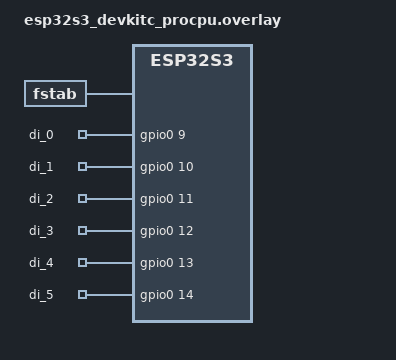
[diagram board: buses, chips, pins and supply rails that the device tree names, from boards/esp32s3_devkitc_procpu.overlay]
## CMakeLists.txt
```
cmake_minimum_required(VERSION 3.20)

# Apply patches before build
function(apply_patches patch_dir target_dir)
    file(GLOB_RECURSE files RELATIVE ${CMAKE_SOURCE_DIR} "${patch_dir}/*.patch")
    foreach(file ${files})
        execute_process(
            COMMAND git apply --reverse --check ${CMAKE_CURRENT_SOURCE_DIR}/${file} --unsafe-paths
            WORKING_DIRECTORY ${target_dir}
            RESULT_VARIABLE patch_already_applied
            OUTPUT_QUIET
            ERROR_QUIET
        )
        if(patch_already_applied EQUAL 0)
            message("Patch already applied: ${file}")
        else()
            message("Applying patch: ${file}")
            execute_process(
                COMMAND git apply ${CMAKE_CURRENT_SOURCE_DIR}/${file} --unsafe-paths
                WORKING_DIRECTORY ${target_dir}
                RESULT_VARIABLE patch_apply_result
            )
            if(NOT patch_apply_result EQUAL 0)
                message(FATAL_ERROR "Failed to apply patch: ${file}")
            endif()
        endif()
    endforeach()
endfunction()

# apply_patches("patches/zephyr" $ENV{ZEPHYR_BASE})
apply_patches("patches/modules/lvgl" $ENV{ZEPHYR_BASE}/../modules/lib/gui/lvgl)

# ZCBOR code generation function
function(generate_zcbor_configuration cddl_path base_name)
    # Convert base_name to PascalCase for the type name
    string(REPLACE "_" ";" name_parts ${base_name})
    set(type_name "")
    foreach(part ${name_parts})
        string(SUBSTRING ${part} 0 1 first_char)
        string(TOUPPER ${first_char} first_char_upper)
        string(SUBSTRING ${part} 1 -1 rest_chars)
        string(APPEND type_name "${first_char_upper}${rest_chars}")
    endforeach()

    # Define output paths
    set(output_dir "${CMAKE_CURRENT_SOURCE_DIR}/src/configuration/cbor/generated/${base_name}")
    set(output_cbor_h "${output_dir}/${base_name}_cbor.h")
    set(output_cbor_c "${output_dir}/${base_name}_cbor.c")
    set(output_cbor_decode_h "${output_dir}/${base_name}_cbor_decode.h")
    set(output_cbor_decode_c "${output_dir}/${base_name}_cbor_decode.c")
    set(output_cbor_encode_h "${output_dir}/${base_name}_cbor_encode.h")
    set(output_cbor_encode_c "${output_dir}/${base_name}_cbor_encode.c")
    set(output_types_h "${output_dir}/${base_name}.h")

    # Define the zcbor code generation command
    add_custom_command(
        OUTPUT
            ${output_cbor_decode_h}
            ${output_cbor_decode_c}
            ${output_cbor_encode_h}
            ${output_cbor_encode_c}
            ${output_types_h}
        COMMAND zcbor code -sed --default-max-qty 24
            -c ${cddl_path}
            -t ${type_name}
            --output-h ${output_cbor_h}
            --output-c ${output_cbor_c}
            --output-h-types ${output_types_h}
        DEPENDS
            ${cddl_path}
        COMMENT "Generating CBOR code from ${cddl_path} for ${base_name}"
        VERBATIM
    )

    # Create a custom target to trigger the code generation automatically
    add_custom_target(generate_${base_name}_cbor ALL
        DEPENDS
            ${output_cbor_decode_h}
            ${output_cbor_decode_c}
            ${output_cbor_encode_h}
            ${output_cbor_encode_c}
            ${output_types_h}
    )
endfunction()

# generate_zcbor_configuration(
#     ${ZEPHYR_BASE}/../project/modules/eerie_leap_rt_core/src/configuration/cbor/cbor_schemas/system_config.cddl
#     "cbor_system_config")
# generate_zcbor_configuration(
#     ${CMAKE_CURRENT_SOURCE_DIR}/src/configuration/cbor/cbor_schemas/ui_config.cddl
#     "cbor_ui_config")

# Add Zephyr modules
set(EXTRA_ZEPHYR_MODULES
    "${CMAKE_CURRENT_SOURCE_DIR}/../modules/eerie_leap_lua"
    "${CMAKE_CURRENT_SOURCE_DIR}/../modules/eerie_leap_rt_core")

find_package(Zephyr REQUIRED HINTS $ENV{ZEPHYR_BASE})
project(eerie_leap_round_gauge)

# Enable compile_commands.json
set(CMAKE_EXPORT_COMPILE_COMMANDS ON)

# Set C++23 globally (Zephyr-compatible way)
set(CMAKE_CXX_STANDARD 23)
set(CMAKE_CXX_STANDARD_REQUIRED ON)
set(CMAKE_CXX_EXTENSIONS OFF)

# Collect all source files
file(GLOB_RECURSE APP_SOURCES
  src/*.cpp
  src/*.c
)

# Include headers
target_include_directories(app PRIVATE src)

# Add sources to the app target
target_sources(app PRIVATE ${APP_SOURCES})
```

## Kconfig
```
menu "Zephyr"
source "Kconfig.zephyr"

	config EERIE_LEAP_UI_RENDERER_THREAD_STACK_SIZE
		int "UI renderer thread stack size"
		default 8192

	config EERIE_LEAP_FLOAT_SIGNIFICANT_DIGITS
		int "Floating point significant digits"
		default 4

endmenu

module = APP
module-str = APP
```

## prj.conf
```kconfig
# Product Info
CONFIG_EERIE_LEAP_PRODUCT_FAMILY_DISPLAY_MODULE=y
# 0xA401
CONFIG_EERIE_LEAP_PRODUCT_ID=41985
CONFIG_EERIE_LEAP_FEATURES_CANBUS=y
CONFIG_EERIE_LEAP_FEATURES_BLUETOOTH=y
CONFIG_EERIE_LEAP_FEATURES_DISPLAY=y
CONFIG_EERIE_LEAP_REVISION=0

# HW Version
CONFIG_EERIE_LEAP_HW_VERSION_MAJOR=11
CONFIG_EERIE_LEAP_HW_VERSION_MINOR=22
CONFIG_EERIE_LEAP_HW_VERSION_PATCH=33

# SW Version
CONFIG_EERIE_LEAP_SW_VERSION_MAJOR=0
CONFIG_EERIE_LEAP_SW_VERSION_MINOR=0
CONFIG_EERIE_LEAP_SW_VERSION_PATCH=1

# Language and Compiler
CONFIG_CPP=y
CONFIG_STD_CPP23=y
CONFIG_REQUIRES_FULL_LIBCPP=y
CONFIG_CPP_EXCEPTIONS=y
CONFIG_CPP_RTTI=y
CONFIG_PICOLIBC=y
CONFIG_CBPRINTF_FP_SUPPORT=y

# Logging And Debugging
CONFIG_LOG=y
CONFIG_LOG_MODE_IMMEDIATE=y
# CONFIG_LOG_MODE_DEFERRED=y
CONFIG_EARLY_CONSOLE=y
CONFIG_THREAD_ANALYZER=y
CONFIG_THREAD_ANALYZER_USE_LOG=y
CONFIG_THREAD_RUNTIME_STATS=y
CONFIG_THREAD_NAME=y
CONFIG_SYS_HEAP_RUNTIME_STATS=y
CONFIG_THREAD_ANALYZER_ISR_STACK_USAGE=n
CONFIG_EXCEPTION_DEBUG=y
# CONFIG_EXTRA_EXCEPTION_INFO=y
# CONFIG_EXCEPTION_STACK_TRACE=y
# CONFIG_STACK_SENTINEL=y

# System
CONFIG_TIMING_FUNCTIONS=y
CONFIG_NUM_METAIRQ_PRIORITIES=1

# Random Number Generator
CONFIG_ENTROPY_GENERATOR=y
CONFIG_HARDWARE_DEVICE_CS_GENERATOR=y
CONFIG_ENTROPY_DEVICE_RANDOM_GENERATOR=y
# CONFIG_TEST_RANDOM_GENERATOR=y
# CONFIG_TIMER_RANDOM_GENERATOR=y
CONFIG_CRC=y

# Heap Config
CONFIG_SYS_HEAP_ARRAY_SIZE=100
# 80KB
CONFIG_HEAP_MEM_POOL_SIZE=81920
# C++ allocation support
CONFIG_COMMON_LIBC_MALLOC=y
# if not set LIBC malloc will use all available RAM
# 32KB
# CONFIG_COMMON_LIBC_MALLOC_ARENA_SIZE=32768

# Stack Config
CONFIG_MAIN_STACK_SIZE=8192
CONFIG_SYSTEM_WORKQUEUE_STACK_SIZE=2048
CONFIG_THREAD_STACK_INFO=y
CONFIG_DYNAMIC_THREAD=y
CONFIG_DYNAMIC_THREAD_ALLOC=y

# Hardware
CONFIG_GPIO=y

# FS Config
# CONFIG_FS_LITTLEFS_FC_HEAP_SIZE=8192
CONFIG_FLASH=y
CONFIG_FLASH_MAP=y
CONFIG_FILE_SYSTEM=y
CONFIG_FILE_SYSTEM_LITTLEFS=y
CONFIG_FILE_SYSTEM_MKFS=y
CONFIG_DISK_ACCESS=y
CONFIG_FS_LITTLEFS_BLK_DEV=y
CONFIG_FS_LITTLEFS_CACHE_SIZE=512

# CBOR
CONFIG_ZCBOR=y

# CANBus
CONFIG_CAN=y
CONFIG_CAN_FD_MODE=y
# CONFIG_CAN_LOG_LEVEL_DBG=y

# LVGL
CONFIG_LVGL=y
# CONFIG_LV_USE_LOG=y
# CONFIG_LV_LOG_LEVEL_ERROR=y
CONFIG_LV_USE_SYSMON=y
CONFIG_LV_USE_ASSERT_MALLOC=y
CONFIG_LV_USE_ASSERT_NULL=y
CONFIG_LV_USE_ASSERT_STYLE=y
CONFIG_LV_USE_LABEL=y
CONFIG_LV_USE_IMAGE=y
# CONFIG_LV_Z_RUN_LVGL_ON_WORKQUEUE=y
CONFIG_LV_DEF_REFR_PERIOD=20
CONFIG_LV_Z_FLUSH_THREAD=y
CONFIG_LV_Z_FLUSH_THREAD_PRIORITY=7
CONFIG_LV_Z_FLUSH_THREAD_STACK_SIZE=2048

# Color Scheme
# =====================================

# CONFIG_LV_COLOR_DEPTH_16=y
# CONFIG_LV_Z_BITS_PER_PIXEL=16

CONFIG_LV_COLOR_DEPTH_8=y
CONFIG_LV_Z_BITS_PER_PIXEL=8

# =====================================

# CONFIG_LV_USE_LOTTIE=y
# CONFIG_LV_USE_THORVG=y
# CONFIG_LV_USE_THORVG_INTERNAL=y
# CONFIG_LV_USE_VECTOR_GRAPHIC=y
# CONFIG_LV_USE_SVG=y
# CONFIG_LV_DRAW_TRANSFORM_USE_MATRIX=y

# Buffer size in %
CONFIG_LV_Z_VDB_SIZE=100
# Double buffer
CONFIG_LV_Z_DOUBLE_VDB=y
# Enabling parallel rendering
# CONFIG_LV_Z_USE_OSAL=y

# CONFIG_LV_USE_MEM_MONITOR=y
# CONFIG_LV_MEM_MONITOR_ALIGN_CENTER=y
# CONFIG_LV_USE_PERF_MONITOR=y
# CONFIG_LV_PERF_MONITOR_ALIGN_CENTER=y
# CONFIG_LV_PERF_MONITOR_ALIGN_BOTTOM_MID=y

# Font
CONFIG_LV_USE_FONT_COMPRESSED=y
CONFIG_LV_FONT_MONTSERRAT_20=y
CONFIG_LV_FONT_DEFAULT_UNSCII_16=y

CONFIG_EERIE_LEAP_RT_CORE=y
CONFIG_EERIE_LEAP_CONFIGURATION=y
CONFIG_EERIE_LEAP_ADC=y
CONFIG_EERIE_LEAP_ASSETS=y
CONFIG_EERIE_LEAP_BLUETOOTH=y
CONFIG_EERIE_LEAP_CANBUS=y
CONFIG_EERIE_LEAP_CDMP=y
# CONFIG_EERIE_LEAP_CFB=y
CONFIG_EERIE_LEAP_DEVICE_TREE=y
CONFIG_EERIE_LEAP_EVENT_BUS=y
CONFIG_EERIE_LEAP_FS=y
CONFIG_EERIE_LEAP_GPIO=y
CONFIG_EERIE_LEAP_LUA_SCRIPT=y
CONFIG_EERIE_LEAP_MATH_PARSER=y
CONFIG_EERIE_LEAP_MDF=y
CONFIG_EERIE_LEAP_RANDOM=y
CONFIG_EERIE_LEAP_THREADING=y
CONFIG_EERIE_LEAP_TIME=y

CONFIG_EERIE_LEAP_DOMAIN_BLE=y
CONFIG_EERIE_LEAP_DOMAIN_CANBUS=y
CONFIG_EERIE_LEAP_DOMAIN_CANBUS_COM=y
CONFIG_EERIE_LEAP_DOMAIN_CANBUS_COM_DEVICE_TYPE_DISPLAY=y
CONFIG_EERIE_LEAP_DOMAIN_SCRIPT=y
CONFIG_EERIE_LEAP_DOMAIN_SENSOR=y
CONFIG_EERIE_LEAP_DOMAIN_SYSTEM=y

CONFIG_EERIE_LEAP_CDMP_SERVICE_THREAD_PRIORITY=6
CONFIG_EERIE_LEAP_CDMP_WORK_QUEUE_PRIORITY=6

CONFIG_EERIE_LEAP_DOMAIN_SENSOR_PROCESSING_SERVICE_STACK_SIZE=4096
CONFIG_EERIE_LEAP_DOMAIN_SENSOR_PROCESSING_SERVICE_PRIORITY=6
```

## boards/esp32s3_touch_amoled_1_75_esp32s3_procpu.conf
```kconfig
# CONFIG_BOOTLOADER_MCUBOOT=y

# Debug
# ==============================================

CONFIG_DEBUG=y
CONFIG_NO_OPTIMIZATIONS=y
CONFIG_DEBUG_OPTIMIZATIONS=y
CONFIG_DEBUG_THREAD_INFO=y
# CONFIG_XTENSA_EXCEPTION_ENTER_GDB=y

# Coredump-on-fault, stored to the dedicated "coredump_partition" flash
# partition (see the board .overlay) so it survives reboot(s) -
# eerie_leap::utilities::dev_tools::CoredumpReporter (app/src/utilities/
# dev_tools) reprints it on every subsequent boot until erased, since the
# device may reset multiple times before a UART gets attached.
# CONFIG_DEBUG_COREDUMP=y
# CONFIG_DEBUG_COREDUMP_BACKEND_FLASH_PARTITION=y

# System
# ==============================================

# Fix (2026-08-21): a higher-level interrupt preempting the vector prologue
# was corrupting _kernel.cpus[0].nested (underflow to 0xFFFFFFFF -> _current
# desyncs -> mutex never unlocks -> bogus "mutex from ISR" panic in
# z_pend_curr). This masks interrupts during the whole handler, preventing
# that preemption.
CONFIG_XTENSA_INTERRUPT_NONPREEMPTABLE=y

# Memory
# ==============================================

# PSRAM config for ESP32-S3-N16R8 board with 8MB Octal SPI SPRAM
CONFIG_ESP_SPIRAM=y
CONFIG_SPIRAM_MODE_OCT=y
# SPIRAM (PSRAM) and SPI Flash are on the same bus,
# when SPIRAM is operating in Octal mode at 80MHz, due to the bug:
# https://github.com/zephyrproject-rtos/zephyr/issues/87938
# SPI Flash fails to initialize
CONFIG_SPIRAM_SPEED_40M=y
# 8MB
CONFIG_ESP_SPIRAM_SIZE=8388608
# 4MB
CONFIG_ESP_SPIRAM_HEAP_SIZE=4194304

# Not working on stable version v4.1 due to the bug:
# https://github.com/zephyrproject-rtos/zephyr/pull/88073
# But works on main branch with patch.
# CONFIG_SPIRAM_RODATA=y
CONFIG_SPIRAM_FETCH_INSTRUCTIONS=y

# LVGL
# ==============================================

# NOTE: Fixes incorrect invalidation of redrawn area
# https://forum.lvgl.io/t/lvgl-9-2-esp32-s3-display-axs15321b/19735/5
CONFIG_LV_Z_AREA_X_ALIGNMENT_WIDTH=2
CONFIG_LV_Z_AREA_Y_ALIGNMENT_WIDTH=2

CONFIG_LV_DEF_REFR_PERIOD=60

CONFIG_LV_Z_VDB_CUSTOM_SECTION=y
# CONFIG_LV_DRAW_THREAD_STACK_SIZE=32768
# CONFIG_LV_DRAW_LAYER_SIMPLE_BUF_SIZE=32768

CONFIG_LV_Z_MEMORY_POOL_CUSTOM_SECTION=y
# CONFIG_LV_Z_MEM_POOL_SYS_HEAP=y
# LVGL Transform requires a lot of memory
CONFIG_LV_Z_MEM_POOL_SIZE=65536

CONFIG_DISPLAY=y
CONFIG_DISPLAY_LOG_LEVEL_DBG=y

CONFIG_MSPI=y
CONFIG_MSPI_ESP32=y
# CONFIG_MSPI_LOG_LEVEL_DBG=y

# TODO: NXP Added their own driver for the CO5300 display
# Review if it makes sense to move to NXP driver
CONFIG_ELCO5300=y

CONFIG_INPUT_CST92XX=y
# CONFIG_INPUT_CST92XX_EV_DEVICE=y
CONFIG_INPUT_CST92XX_INTERRUPT=y
CONFIG_INPUT_QUEUE_MAX_MSGS=40
# CONFIG_INPUT_LOG_LEVEL_DBG=y

# CANBus
# CONFIG_CAN_MAX_FILTER=8
CONFIG_CAN_MCP251XFD_INT_THREAD_STACK_SIZE=4096

# Bluetooth
# ==============================================

CONFIG_BT=y
# CONFIG_BT_HCI=y
CONFIG_BT_DIS=y
CONFIG_BT_ATT_PREPARE_COUNT=1
CONFIG_BT_GATT_CLIENT=y
CONFIG_BT_PERIPHERAL=y
CONFIG_BT_DEVICE_NAME="EerieLeap"
CONFIG_BT_DEVICE_APPEARANCE=833

CONFIG_BT_SMP=y
CONFIG_BT_PRIVACY=y
CONFIG_BT_KEYS_OVERWRITE_OLDEST=y
CONFIG_BT_TX_PROCESSOR_STACK_SIZE=2048
# "BT RX WQ" thread
CONFIG_BT_RX_STACK_SIZE=8192
# "BT LW WQ" thread
CONFIG_BT_LONG_WQ_STACK_SIZE=2048

# # SMP configuration for Just Works
CONFIG_BT_SMP_SC_ONLY=n
# CONFIG_BT_SMP_SC_PAIR_ONLY=n
# CONFIG_BT_SMP_ENFORCE_MITM=n
# CONFIG_BT_SMP_LOG_LEVEL_DBG=y
# CONFIG_BT_SMP_APP_PAIRING_ACCEPT=y
CONFIG_BT_SMP_ALLOW_UNAUTH_OVERWRITE=y

# BT Settings
CONFIG_BT_SETTINGS=y
CONFIG_FLASH=y
CONFIG_FLASH_MAP=y
CONFIG_NVS=y
CONFIG_SETTINGS=y

# CONFIG_BT_LOG_LEVEL_DBG=y

CONFIG_BT_GATT_SERVICE_CHANGED=y

CONFIG_BT_MAX_CONN=1
CONFIG_BT_MAX_PAIRED=1

CONFIG_BT_BUF_ACL_TX_COUNT=12
CONFIG_BT_CONN_TX_MAX=12
CONFIG_BT_BUF_EVT_RX_COUNT=16
CONFIG_BT_L2CAP_TX_BUF_COUNT=12
# CONFIG_ESP32_BT_RESERVE_DRAM=y
# CONFIG_ESP32_BT_LE_HCI_INTERFACE_USE_RAM=y

# Too low value can lead to BT ATT PDU buffer pool exhaustion
# Uses RAM, works fine with val=20, set to 30 to be on safer side
# Size of a single buffer ~350 bytes
CONFIG_BT_ATT_TX_COUNT=30

# Data Length Update
CONFIG_BT_USER_DATA_LEN_UPDATE=y
CONFIG_BT_BUF_ACL_RX_SIZE=251
CONFIG_BT_BUF_ACL_TX_SIZE=251
CONFIG_BT_L2CAP_TX_MTU=247

# CONFIG_BT_ATT_LOG_LEVEL_DBG=y
# CONFIG_BT_GATT_LOG_LEVEL_DBG=y
```

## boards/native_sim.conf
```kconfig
CONFIG_FLASH_SIMULATOR=y
CONFIG_GPIO_EMUL=y

CONFIG_DISPLAY=y
CONFIG_INPUT=y

# Memory
# 8MB SRAM
CONFIG_SRAM_SIZE=8388608
# 2MB Heap
CONFIG_HEAP_MEM_POOL_SIZE=2097152
CONFIG_LV_Z_MEM_POOL_SIZE=1048576

# Bluetooth
# ==============================================

CONFIG_BT=y
CONFIG_BT_GATT_CLIENT=y
CONFIG_BT_PERIPHERAL=y
CONFIG_BT_DEVICE_NAME="EerieLeap"
CONFIG_BT_SMP=y
CONFIG_BT_USER_DATA_LEN_UPDATE=y
# BT Settings
CONFIG_NVS=y
CONFIG_SETTINGS=y
CONFIG_BT_SETTINGS=y

# Tracing
# ==============================================
# See docs/native_sim/TRACING.md for more information on tracing usage.

# CONFIG_TRACING=y
# CONFIG_TRACING_CTF=y
# # POSIX backend requires synchronous tracing (TRACING_BACKEND_RAM is used silently otherwise)
# CONFIG_TRACING_SYNC=y
# CONFIG_TRACING_BACKEND_POSIX=y
```

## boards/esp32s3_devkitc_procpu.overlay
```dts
// ESP32-S3 Reference Manual:
// https://www.espressif.com/sites/default/files/documentation/esp32-s3_technical_reference_manual_en.pdf

/ {
    aliases {
		lfs1 = &lfs1;
		gpioc = &gpioc;
	};

    fstab {
        compatible = "zephyr,fstab";
        lfs1: lfs1 {
            compatible = "zephyr,fstab,littlefs";
            read-size = <16>;
			prog-size = <16>;
			cache-size = <64>;
			lookahead-size = <32>;
            block-cycles = <512>;
            partition = <&lfs1_partition>;
            mount-point = "/lfs1";
            automount;
        };
    };

    ap_wifi: ap_wifi {
        compatible = "espressif,esp32-wifi";
        status = "okay";
    };

	gpioc: gpioc {
		compatible = "gpio-keys";

		di_0: di_0 {
			gpios = < &gpio0 9 GPIO_PULL_UP >;
		};

		di_1: di_1 {
			gpios = < &gpio0 10 GPIO_PULL_UP >;
		};

		di_2: di_2 {
			gpios = < &gpio0 11 GPIO_PULL_UP >;
		};

		di_3: di_3 {
			gpios = < &gpio0 12 GPIO_PULL_UP >;
		};

		di_4: di_4 {
			gpios = < &gpio0 13 GPIO_PULL_UP >;
		};

		di_5: di_5 {
			gpios = < &gpio0 14 GPIO_PULL_UP >;
		};
	};
};

&flash0 {
    partitions {
        compatible = "fixed-partitions";
        #address-cells = <1>;
        #size-cells = <1>;

        lfs1_partition: partition@700000 {
            label = "lfs1_storage";
            reg = <0x700000 DT_SIZE_M(1)>; // 1MB at offset 7MB
        };
    };
};

&psram0 {
	size = <DT_SIZE_M(8)>;
};
```

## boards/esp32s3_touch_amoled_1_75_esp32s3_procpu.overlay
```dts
// ESP32-S3 Reference Manual:
// https://www.espressif.com/sites/default/files/documentation/esp32-s3_technical_reference_manual_en.pdf

/ {
    aliases {
        intfs0 = &intfs0;
        gpioc = &gpioc;
        can0 = &can0;
    };

    chosen {
        zephyr,console = &usb_serial;
        zephyr,shell-uart = &usb_serial;
		zephyr,entropy = &trng0;
    };

    fstab {
        compatible = "zephyr,fstab";

        intfs0: intfs0 {
            compatible = "zephyr,fstab,littlefs";
            read-size = <16>;
			prog-size = <256>;
			cache-size = <256>;
			lookahead-size = <32>;
            block-cycles = <512>;
            partition = <&intfs0_partition>;
            mount-point = "/intfs0";
            automount;
        };
    };

    gpioc: gpioc {
		compatible = "gpio-keys";

		di_0: di_0 {
			gpios = <&gpio0 0 GPIO_PULL_UP>;
            zephyr,code = <INPUT_BTN_0>;
		};
	};
};

&flash0 {
    partitions {
        compatible = "fixed-partitions";
        #address-cells = <1>;
        #size-cells = <1>;

        /* Delete the overlapping partitions */
        /delete-node/ partition@5f0000;  /* slot1_partition - OVERLAPS with your partition */
        /delete-node/ partition@bc0000;  /* slot0_appcpu_partition - OVERLAPS */
        /delete-node/ partition@db0000;  /* slot1_appcpu_partition - OVERLAPS */
        /delete-node/ partition@fa0000;  /* slot0_lpcore_partition - OVERLAPS */
        /delete-node/ partition@fa8000;  /* slot1_lpcore_partition - OVERLAPS */
        // /delete-node/ partition@fff000;  /* stock coredump_partition - only 4KB, too small for a full RAM dump; replaced below */

        /* Your LittleFS partition */
        intfs0_partition: partition@600000 {
            label = "intfs0_storage";
            reg = <0x600000 DT_SIZE_M(8)>; // 8MB at offset 6MB
        };

        // /* Coredump storage (CONFIG_DEBUG_COREDUMP_BACKEND_FLASH_PARTITION).
        //  * 1MB, placed right after intfs0 (ends 0xe00000) and well clear of
        //  * storage_partition (0xfb0000, NVS/BT settings) and scratch_partition
        //  * (0xfe0000, mcuboot swap) - neither is touched.
        //  * Node label must stay "coredump_partition": the flash-partition
        //  * coredump backend binds to that exact DT node label via
        //  * DT_NODELABEL() (zephyr/subsys/debug/coredump/
        //  * coredump_backend_flash_partition.c), not a devicetree alias,
        //  * despite the Kconfig help text wording.
        //  */
        // coredump_partition: partition@e00000 {
        //     label = "coredump-partition";
        //     reg = <0xe00000 DT_SIZE_M(1)>;
        // };
    };
};

&usb_serial {
    status = "okay";
};

&spi3 {
	status = "okay";
	#address-cells = <1>;
	#size-cells = <0>;
	pinctrl-0 = <&spim3_canbus>;
	pinctrl-names = "default";

	can0: mcp2518fd@0 {
		compatible = "microchip,mcp251xfd";
		reg = <0>;
		status = "okay";

		// MCP2518FD maximum SPI frequency is 20 MHz
		// But current temp setup is not stable at frequencies above 8 MHz
		// TODO: Investigate
		spi-max-frequency = <8000000>;
		int-gpios = <&gpio1 14 GPIO_ACTIVE_LOW>;
		osc-freq = <20000000>;
	};

	can-transceiver {
		max-bitrate = <8000000>;
	};
};

&pinctrl {
    spim3_canbus: spim3_canbus {
		group1 {
			pinmux = <SPIM3_MISO_GPIO17>,
				     <SPIM3_SCLK_GPIO44>,
				     <SPIM3_CSEL_GPIO18>;
		};
		group2 {
			pinmux = <SPIM3_MOSI_GPIO16>;
			output-low;
		};
	};
};
```

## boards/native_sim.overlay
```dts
/ {
	aliases {
		intfs0 = &intfs0;
        can0 = &can_loopback0;
	};

	fstab {
		compatible = "zephyr,fstab";
		intfs0: intfs0 {
			compatible = "zephyr,fstab,littlefs";
			read-size = <16>;
			prog-size = <16>;
			cache-size = <64>;
			lookahead-size = <32>;
			block-cycles = <512>;
			partition = <&intfs0_partition>;
			mount-point = "/intfs0";
			automount;
		};
	};
};

&flashcontroller0 {
	reg = <0x00000000 DT_SIZE_M(4)>;  // 4MB flash controller
};

// HEX Flash dump can be found in the duild/flash.bin file
&flash0 {
	reg = <0x00000000 DT_SIZE_M(4)>;  // 4MB total flash

	partitions {
		compatible = "fixed-partitions";
		#address-cells = <1>;
		#size-cells = <1>;

		intfs0_partition: partition@1000 {
			label = "intfs0_storage";
			reg = <0x00001000 DT_SIZE_M(1)>;  // 0x00001000 offset, 1MB size
		};
	};
};

&sdl_dc {
    compatible = "zephyr,sdl-dc";
    height = <466>;
    width = <466>;
};
```

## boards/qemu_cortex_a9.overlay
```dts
/ {
	aliases {
		lfs1 = &lfs1;
	};

	fstab {
		compatible = "zephyr,fstab";
		lfs1: lfs1 {
			compatible = "zephyr,fstab,littlefs";
			read-size = <16>;
			prog-size = <16>;
			cache-size = <64>;
			lookahead-size = <32>;
			block-cycles = <512>;
			partition = <&lfs1_partition>;
			mount-point = "/lfs1";
			automount;
		};
	};

    flash_controller: flash_controller {
		compatible = "zephyr,sim-flash";

		#address-cells = <1>;
		#size-cells = <1>;
		erase-value = <0xff>;

		flash_sim0: flash_sim@0 {
			compatible = "soc-nv-flash";
			reg = < 0x0 0x400000 >;

			erase-block-size = <1024>;
			write-block-size = <4>;

			partitions {
				compatible = "fixed-partitions";
				#address-cells = <1>;
				#size-cells = <1>;

				lfs1_partition: partition@1000 {
                    label = "lfs1_storage";
                    reg = < 0x100000 0x100000 >;
                    phandle = < 0x3 >;
                };
			};
		};
	};
};
```

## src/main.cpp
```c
#include <memory>

#include <zephyr/kernel.h>
#include <zephyr/logging/log.h>
#include <eerie_memory.hpp>

#include "utilities/memory/memory_resource_manager.h"
#include "utilities/dev_tools/system_info.h"
#include "utilities/dev_tools/coredump_reporter.h"
#include "utilities/guid/guid_generator.h"

#include "subsys/device_tree/dt_configurator.h"
#include "subsys/device_tree/dt_feature.h"
#include "subsys/device_tree/dt_fs.h"
#include "subsys/device_tree/dt_gpio.h"

#include "subsys/fs/services/fs_service.h"
#include "subsys/gpio/gpio_factory.hpp"
#include "subsys/threading/work_queue_thread.h"
#include "subsys/time/time_service.h"
#include "subsys/time/rtc_provider.h"
#include "subsys/time/boot_elapsed_time_provider.h"

#include "domain/configuration_domain/services/configuration_service.h"
#include "domain/sensor_domain/utilities/sensor_readings_frame.hpp"
#include "domain/settings_domain/services/settings_persistence_service.h"

#include "event_bus/event_channels.h"

#include "controllers/system_controller.h"
#include "controllers/canbus_controller.h"
#include "controllers/sensors_controller.h"
#include "controllers/ble_controller.h"
#include "controllers/logging_controller.h"
#include "controllers/display_controller.h"
#include "controllers/ui_controller.h"

using namespace eerie_memory;
using namespace eerie_leap::utilities::memory;
using namespace eerie_leap::utilities::dev_tools;
using namespace eerie_leap::utilities::guid;

using namespace eerie_leap::subsys::device_tree;
using namespace eerie_leap::subsys::fs::services;
using namespace eerie_leap::subsys::gpio;
using namespace eerie_leap::subsys::threading;
using namespace eerie_leap::subsys::time;

using namespace eerie_leap::domain::configuration_domain::services;
using namespace eerie_leap::domain::sensor_domain::utilities;
using namespace eerie_leap::domain::ui_domain::services;
using namespace eerie_leap::domain::settings_domain::services;

using namespace eerie_leap::event_bus;

using namespace eerie_leap::controllers;

LOG_MODULE_REGISTER(main_logger);

constexpr uint32_t SLEEP_TIME_MS = 10000;

int main() {
    // CoredumpReporter::PrintStoredDump();

    // Channels are inert until their bus registers them, thus this has to run before any
    // publisher does.
    InitializeEventChannels();

    DtConfigurator::Initialize(
        DtFeature::INTERNAL_FS
        | DtFeature::GPIO
        | DtFeature::DISPLAY
        | DtFeature::CANBUS);

    auto fs_service = std::make_shared<FsService>(DtFs::GetInternalFsMp());
    if(!fs_service->Initialize()) {
        LOG_ERR("Failed to initialize File System.");
        return -1;
    }

    auto rtc_provider = std::make_shared<RtcProvider>();
    auto boot_elapsed_time_provider = std::make_shared<BootElapsedTimeProvider>();
    auto time_service = std::make_shared<TimeService>(rtc_provider, boot_elapsed_time_provider);
    time_service->Initialize();

    auto guid_generator = std::make_shared<GuidGenerator>();

    int config_work_queue_stack_size = 6144;
    int config_work_queue_priority = 5;
    auto config_work_queue_thread = std::make_shared<WorkQueueThread>(
        "config_work_queue",
        config_work_queue_stack_size,
        config_work_queue_priority);
    if(!config_work_queue_thread->Initialize()) {
        LOG_ERR("Failed to initialize the configuration work queue.");
        return -1;
    }

    auto system_controller = std::make_shared<SystemController>(
        fs_service, config_work_queue_thread);
    if(system_controller->Initialize() != 0)
        LOG_ERR("Failed to initialize the system controller.");

    auto configuration_service = std::make_shared<ConfigurationService>();

    std::shared_ptr<IGpio> gpio = GpioFactory(DtGpio::Get).Create();
    if(gpio->Initialize() != 0) {
        LOG_ERR("Failed to initialize GPIO.");
        gpio = nullptr;
    }

    // Owns the debounce between a setting settling and its owner writing flash. Constructed
    // before any owner so a change published during initialization is already observed.
    auto settings_persistence_service = std::make_shared<SettingsPersistenceService>(config_work_queue_thread);
    if(settings_persistence_service->Initialize() != 0)
        LOG_ERR("Failed to initialize the settings persistence service.");

    auto display_controller = std::make_shared<DisplayController>(
        fs_service,
        config_work_queue_thread,
        configuration_service);
    if(display_controller->Initialize() != 0) {
        LOG_ERR("Failed to initialize the display controller.");
        return -1;
    }

    auto sensor_readings_frame = std::make_shared<SensorReadingsFrame>();

    auto ui_controller = std::make_shared<UiController>(
        fs_service,
        config_work_queue_thread,
        configuration_service,
        sensor_readings_frame);
    if(ui_controller->Initialize() != 0) {
        LOG_ERR("Failed to initialize the UI controller.");
        return -1;
    }
    ui_controller->Start();

    auto canbus_controller = std::make_shared<CanbusController>(
        fs_service,
        config_work_queue_thread,
        configuration_service);
    if(canbus_controller->Initialize() != 0)
        LOG_ERR("Failed to initialize the CANBus controller.");
    canbus_controller->Start();

    auto sensors_controller = std::make_shared<SensorsController>(
        fs_service,
        config_work_queue_thread,
        configuration_service,
        time_service,
        guid_generator,
        sensor_readings_frame,
        canbus_controller->GetService(),
        gpio);
    if(sensors_controller->Initialize() != 0)
        LOG_ERR("Failed to initialize the sensors controller.");

    canbus_controller->RegisterDependentService(sensors_controller->GetProcessingService());

    auto logging_controller = std::make_shared<LoggingController>(
        gpio, canbus_controller->GetComService());
    if(logging_controller->Initialize() != 0)
        LOG_WRN("Logging controller is not available.");

    sensors_controller->Start();

    auto ble_controller = std::make_shared<BleController>(
        configuration_service, sensors_controller->GetProcessingService());
    if(ble_controller->Initialize() == 0)
        ble_controller->Start();
    else
        LOG_ERR("Failed to initialize the BLE controller.");

    // SystemInfo::PrintStackInfo();
    SystemInfo::PrintThreadIds();

	while(true) {
        SystemInfo::PrintHeapInfo();
        SystemInfo::PrintStackInfo();
        // SystemInfo::PrintThreadIds();
        k_msleep(SLEEP_TIME_MS);

        // TODO: TEMPORARY navigation smoke test
        // static uint32_t nav_tick = 0;
        // if(++nav_tick % 250 == 0) {
        //     auto nav = ui_controller->GetNavigationService();
        //     LOG_INF("Navigation: active group %u -> requesting next.", nav->GetActiveGroupId().value_or(0));
        //     nav->Next();
        //     k_msleep(200);
        //     LOG_INF("Navigation: active group is now %u.", nav->GetActiveGroupId().value_or(0));
        // }

        // TODO: For test purposes only
        // sensors_controller->EmulateReadings();
        // k_msleep(20);
	}

	return 0;
}
```
